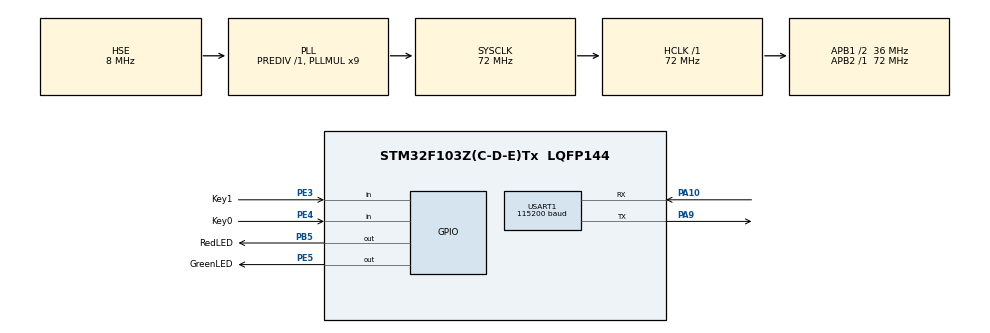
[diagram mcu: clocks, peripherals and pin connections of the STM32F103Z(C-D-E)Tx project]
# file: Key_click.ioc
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Mcu.Family=STM32F1
Mcu.Name=STM32F103Z(C-D-E)Tx
Mcu.Package=LQFP144
NVIC.PriorityGroup=NVIC_PRIORITYGROUP_4
NVIC.TIM6_IRQn=true\:0\:0\:false\:false\:true\:true\:true\:true
OSC_IN.Mode=HSE-External-Oscillator
OSC_IN.Signal=RCC_OSC_IN
OSC_OUT.Mode=HSE-External-Oscillator
OSC_OUT.Signal=RCC_OSC_OUT
PA10.Mode=Asynchronous
PA10.Signal=USART1_RX
PA13.Mode=Serial_Wire
PA13.Signal=SYS_JTMS-SWDIO
PA14.Mode=Serial_Wire
PA14.Signal=SYS_JTCK-SWCLK
PA9.Mode=Asynchronous
PA9.Signal=USART1_TX
PB5.GPIO_Label=RedLED
PB5.GPIO_PuPd=GPIO_PULLDOWN
PB5.PinState=GPIO_PIN_SET
PB5.Signal=GPIO_Output
PC14-OSC32_IN.Mode=LSE-External-Oscillator
PC14-OSC32_IN.Signal=RCC_OSC32_IN
PC15-OSC32_OUT.Mode=LSE-External-Oscillator
PC15-OSC32_OUT.Signal=RCC_OSC32_OUT
PE3.GPIO_Label=Key1
PE3.GPIO_PuPd=GPIO_PULLUP
PE3.Signal=GPIO_Input
PE4.GPIO_Label=Key0
PE4.GPIO_PuPd=GPIO_PULLUP
PE4.Signal=GPIO_Input
PE5.GPIO_Label=GreenLED
PE5.GPIO_PuPd=GPIO_PULLDOWN
PE5.PinState=GPIO_PIN_SET
PE5.Signal=GPIO_Output
ProjectManager.HeapSize=0x200
ProjectManager.StackSize=0x400
ProjectManager.TargetToolchain=CMake
RCC.AHBFreq_Value=72000000
RCC.APB1CLKDivider=RCC_HCLK_DIV2
RCC.APB1Freq_Value=36000000
RCC.APB1TimFreq_Value=72000000
RCC.APB2Freq_Value=72000000
RCC.APB2TimFreq_Value=72000000
RCC.FLatency=FLASH_LATENCY_2
RCC.HCLKFreq_Value=72000000
RCC.PLLMUL=RCC_PLL_MUL9
RCC.PLLSourceVirtual=RCC_PLLSOURCE_HSE
RCC.SYSCLKFreq_VALUE=72000000
RCC.SYSCLKSource=RCC_SYSCLKSOURCE_PLLCLK
RCC.USBFreq_Value=72000000
TIM6.AutoReloadPreload=TIM_AUTORELOAD_PRELOAD_DISABLE
TIM6.CounterMode=TIM_COUNTERMODE_UP
TIM6.Period=10000 - 1
TIM6.Prescaler=72 - 1
TIM6.TIM_MasterOutputTrigger=TIM_TRGO_RESET
USART1.BaudRate=115200
USART1.Mode=MODE_TX_RX
USART1.Parity=PARITY_NONE
USART1.StopBits=STOPBITS_1
USART1.VirtualMode=VM_ASYNC
USART1.WordLength=WORDLENGTH_8B
VP_TIM6_VS_ClockSourceINT.Mode=Enable_Timer
board=custom

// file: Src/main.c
/* USER CODE BEGIN Header */
/* USER CODE END Header */
#include "main.h"

#include "gpio.h"
#include "tim.h"
#include "usart.h"

/* USER CODE BEGIN PTD */
typedef enum {
    KEY_CHECK = 0,
    KEY_CONFIRM,
    KEY_RELEASE,
} KEY_STATE;
/* USER CODE END PTD */

/* USER CODE BEGIN PV */
KEY_STATE KeyState = KEY_CHECK;
uint8_t KeyFlag = 0;
/* USER CODE END PV */

void SystemClock_Config(void);

int main(void) {

    /* MCU Configuration--------------------------------------------------------*/

    /* Reset of all peripherals, Initializes the Flash interface and the Systick.
     */
    HAL_Init();

    /* Configure the system clock */
    SystemClock_Config();

    /* Initialize all configured peripherals */
    MX_GPIO_Init();
    MX_USART1_UART_Init();
    MX_TIM6_Init();
    /* USER CODE BEGIN 2 */
    HAL_TIM_Base_Start_IT(&htim6);
    /* USER CODE END 2 */

    /* Infinite loop */
    /* USER CODE BEGIN WHILE */
    while (1) {
        if (KeyFlag == 1) {
            KeyFlag = 0;
            HAL_GPIO_TogglePin(RedLED_GPIO_Port, RedLED_Pin);
            HAL_GPIO_TogglePin(GreenLED_GPIO_Port, GreenLED_Pin);
        }
        /* USER CODE END WHILE */

    }
}

void SystemClock_Config(void) {
    RCC_OscInitTypeDef RCC_OscInitStruct = {0};
    RCC_ClkInitTypeDef RCC_ClkInitStruct = {0};

    /** Initializes the RCC Oscillators according to the specified parameters
     * in the RCC_OscInitTypeDef structure.
     */
    RCC_OscInitStruct.OscillatorType = RCC_OSCILLATORTYPE_HSE;
    RCC_OscInitStruct.HSEState = RCC_HSE_ON;
    RCC_OscInitStruct.HSEPredivValue = RCC_HSE_PREDIV_DIV1;
    RCC_OscInitStruct.HSIState = RCC_HSI_ON;
    RCC_OscInitStruct.PLL.PLLState = RCC_PLL_ON;
    RCC_OscInitStruct.PLL.PLLSource = RCC_PLLSOURCE_HSE;
    RCC_OscInitStruct.PLL.PLLMUL = RCC_PLL_MUL9;
    if (HAL_RCC_OscConfig(&RCC_OscInitStruct) != HAL_OK) {
        Error_Handler();
    }

    /** Initializes the CPU, AHB and APB buses clocks
     */
    RCC_ClkInitStruct.ClockType = RCC_CLOCKTYPE_HCLK | RCC_CLOCKTYPE_SYSCLK | RCC_CLOCKTYPE_PCLK1 | RCC_CLOCKTYPE_PCLK2;
    RCC_ClkInitStruct.SYSCLKSource = RCC_SYSCLKSOURCE_PLLCLK;
    RCC_ClkInitStruct.AHBCLKDivider = RCC_SYSCLK_DIV1;
    RCC_ClkInitStruct.APB1CLKDivider = RCC_HCLK_DIV2;
    RCC_ClkInitStruct.APB2CLKDivider = RCC_HCLK_DIV1;

    if (HAL_RCC_ClockConfig(&RCC_ClkInitStruct, FLASH_LATENCY_2) != HAL_OK) {
        Error_Handler();
    }
}

/* USER CODE BEGIN 4 */
void HAL_TIM_PeriodElapsedCallback(TIM_HandleTypeDef* htim) {
    if (htim->Instance == TIM6) {
        switch (KeyState) {
            case KEY_CHECK: {
                if (HAL_GPIO_ReadPin(Key1_GPIO_Port, Key1_Pin) == GPIO_PIN_RESET) {
                    KeyState = KEY_CONFIRM;
                }
                break;
            }
            case KEY_CONFIRM: {
                if (HAL_GPIO_ReadPin(Key1_GPIO_Port, Key1_Pin) == GPIO_PIN_RESET) {
                    KeyState = KEY_RELEASE;
                    KeyFlag = 1;
                } else {
                    KeyState = KEY_CHECK;
                }
                break;
            }
            case KEY_RELEASE: {
                if (HAL_GPIO_ReadPin(Key1_GPIO_Port, Key1_Pin) == GPIO_PIN_SET) {
                    KeyState = KEY_CHECK;
                }
                break;
            }
            default: break;
        }
    }
}
/* USER CODE END 4 */

void Error_Handler(void) {
}
